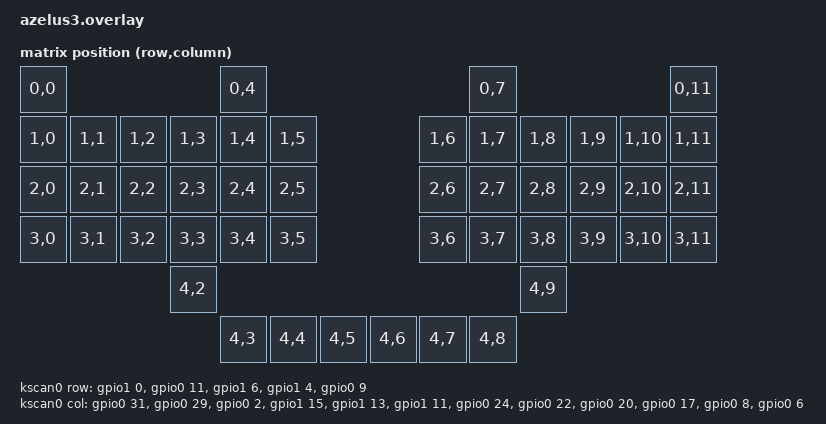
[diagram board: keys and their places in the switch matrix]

#include <dt-bindings/zmk/matrix_transform.h>
#include <physical_layouts.dtsi>

/ {
    chosen {
        zmk,battery = &vbatt;
        zmk,kscan = &kscan0;
        zmk,physical-layout = &physical_layout0;
    };
    
    // "&gpio1 6" means pin P1.06 on the pinout diagram for the nice!nano_v2: https://nicekeyboards.com/docs/nice-nano/pinout-schematic/. 
    // See also  https://zmk.dev/docs/development/new-shield#shield-overlays
    kscan0: kscan {
        compatible = "zmk,kscan-gpio-matrix";
        label = "KSCAN";
                diode-direction = "col2row";
        wakeup-source;
        row-gpios
            = <&gpio1 0  (GPIO_ACTIVE_HIGH | GPIO_PULL_DOWN)>  
            , <&gpio0 11 (GPIO_ACTIVE_HIGH | GPIO_PULL_DOWN)>
            , <&gpio1 6  (GPIO_ACTIVE_HIGH | GPIO_PULL_DOWN)>
            , <&gpio1 4  (GPIO_ACTIVE_HIGH | GPIO_PULL_DOWN)>
            , <&gpio0 9  (GPIO_ACTIVE_HIGH | GPIO_PULL_DOWN)>
            ;
        col-gpios
            //left
            = <&gpio0 31 GPIO_ACTIVE_HIGH>
            , <&gpio0 29 GPIO_ACTIVE_HIGH>
            , <&gpio0 2  GPIO_ACTIVE_HIGH> 
            , <&gpio1 15 GPIO_ACTIVE_HIGH> 
            , <&gpio1 13 GPIO_ACTIVE_HIGH> 
            , <&gpio1 11 GPIO_ACTIVE_HIGH>

            // right
            , <&gpio0 24 GPIO_ACTIVE_HIGH>
            , <&gpio0 22 GPIO_ACTIVE_HIGH>
            , <&gpio0 20 GPIO_ACTIVE_HIGH> 
            , <&gpio0 17 GPIO_ACTIVE_HIGH> 
            , <&gpio0 8  GPIO_ACTIVE_HIGH>
            , <&gpio0 6  GPIO_ACTIVE_HIGH>
            ;
    };
    
    matrix_transform0: keymap_transform_0  {
        compatible = "zmk,matrix-transform";
        columns = <12>;
        rows = <5>;
        map = <                                                     
                    RC(0,0)                         RC(0,4)                     RC(0,7)                          RC(0,11) 
                    RC(1,0) RC(1,1) RC(1,2) RC(1,3) RC(1,4) RC(1,5)     RC(1,6) RC(1,7) RC(1,8) RC(1,9) RC(1,10) RC(1,11)
                    RC(2,0) RC(2,1) RC(2,2) RC(2,3) RC(2,4) RC(2,5)     RC(2,6) RC(2,7) RC(2,8) RC(2,9) RC(2,10) RC(2,11)
                    RC(3,0) RC(3,1) RC(3,2) RC(3,3) RC(3,4) RC(3,5)     RC(3,6) RC(3,7) RC(3,8) RC(3,9) RC(3,10) RC(3,11)
                                    RC(4,2) RC(4,3) RC(4,4) RC(4,5)     RC(4,6) RC(4,7) RC(4,8) RC(4,9)
            >;
    };

    physical_layout0: default_layout {
        compatible = "zmk,physical-layout";
        display-name = "Standard Layout";
        transform = <&matrix_transform0>;
        keys =  <&key_physical_attrs 100 100    0    0       0     0     0>
               ,<&key_physical_attrs 100 100  400    0       0     0     0> 
               ,<&key_physical_attrs 100 100  900    0       0     0     0>
               ,<&key_physical_attrs 100 100 1300    0       0     0     0>

               ,<&key_physical_attrs 100 100    0    100     0     0     0>
               ,<&key_physical_attrs 100 100  100    100     0     0     0>
               ,<&key_physical_attrs 100 100  200    100     0     0     0>
               ,<&key_physical_attrs 100 100  300    100     0     0     0>
               ,<&key_physical_attrs 100 100  400    100     0     0     0>
               ,<&key_physical_attrs 100 100  500    100     0     0     0>
               ,<&key_physical_attrs 100 100  800    100     0     0     0>
               ,<&key_physical_attrs 100 100  900    100     0     0     0>
               ,<&key_physical_attrs 100 100 1000    100     0     0     0>
               ,<&key_physical_attrs 100 100 1100    100     0     0     0>
               ,<&key_physical_attrs 100 100 1200    100     0     0     0>
               ,<&key_physical_attrs 100 100 1300    100     0     0     0>

               ,<&key_physical_attrs 100 100    0    200     0     0     0>
               ,<&key_physical_attrs 100 100  100    200     0     0     0>
               ,<&key_physical_attrs 100 100  200    200     0     0     0>
               ,<&key_physical_attrs 100 100  300    200     0     0     0>
               ,<&key_physical_attrs 100 100  400    200     0     0     0>
               ,<&key_physical_attrs 100 100  500    200     0     0     0>
               ,<&key_physical_attrs 100 100  800    200     0     0     0>
               ,<&key_physical_attrs 100 100  900    200     0     0     0>
               ,<&key_physical_attrs 100 100 1000    200     0     0     0>
               ,<&key_physical_attrs 100 100 1100    200     0     0     0>
               ,<&key_physical_attrs 100 100 1200    200     0     0     0>
               ,<&key_physical_attrs 100 100 1300    200     0     0     0>

               ,<&key_physical_attrs 100 100    0    300     0     0     0>
               ,<&key_physical_attrs 100 100  100    300     0     0     0>
               ,<&key_physical_attrs 100 100  200    300     0     0     0>
               ,<&key_physical_attrs 100 100  300    300     0     0     0>
               ,<&key_physical_attrs 100 100  400    300     0     0     0>
               ,<&key_physical_attrs 100 100  500    300     0     0     0>
               ,<&key_physical_attrs 100 100  800    300     0     0     0>
               ,<&key_physical_attrs 100 100  900    300     0     0     0>
               ,<&key_physical_attrs 100 100 1000    300     0     0     0>
               ,<&key_physical_attrs 100 100 1100    300     0     0     0>
               ,<&key_physical_attrs 100 100 1200    300     0     0     0>
               ,<&key_physical_attrs 100 100 1300    300     0     0     0>

               ,<&key_physical_attrs 100 100  300    400     0     0     0>
               ,<&key_physical_attrs 100 100  400    500     0     0     0>
               ,<&key_physical_attrs 100 100  500    500     0     0     0>
               ,<&key_physical_attrs 100 100  600    500     0     0     0>
               ,<&key_physical_attrs 100 100  700    500     0     0     0>
               ,<&key_physical_attrs 100 100  800    500     0     0     0>
               ,<&key_physical_attrs 100 100  900    500     0     0     0>
               ,<&key_physical_attrs 100 100 1000    400     0     0     0>
            ;
    };

    position_map {
        compatible = "zmk,physical-layout-position-map";
        complete;
        layout1: layout1 {
            physical-layout = <&physical_layout0>;
            positions = < 0           1              2           3>
                       ,< 4  5  6  7  8  9       10 11 12 13 14 15>
                       ,<16 17 18 19 20 21       22 23 24 25 26 27>
                       ,<28 29 30 31 32 33       34 35 36 37 38 39>
                       ,<         40                   41         >
                       ,<            42 43 44 45 46 47            >
            ;
        };
    };

    ext-power {
        compatible = "zmk,ext-power-generic";
        label = "EXT_POWER";
        control-gpios = <&gpio0 13 GPIO_ACTIVE_HIGH>;
        init-delay-ms = <50>;
    };

    vbatt: vbatt {
        compatible = "zmk,battery-nrf-vddh";
        label = "BATTERY";
    };
};

